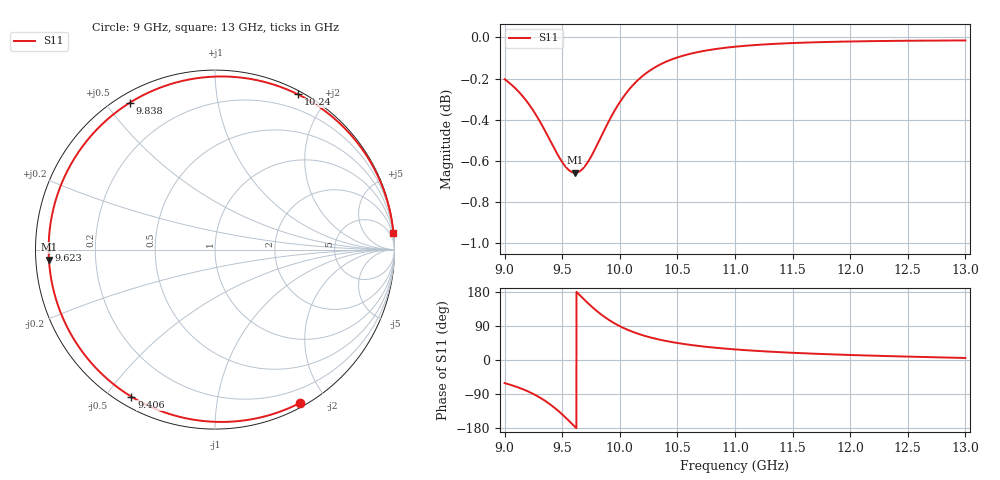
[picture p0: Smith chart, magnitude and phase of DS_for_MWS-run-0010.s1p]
! TOUCHSTONE file generated by CST DESIGN STUDIO
! Date and time: Tue Feb  4 15:46:16 2025
! Project name: C:\Work\MatlabApps\UnitCellOptimizationMatlab\CST\unitcell.cst
! Tree item: Tasks\Sweep1\SPara1\S-Parameters
! Header version: 2024
! Port assignment regex: !\s*Touchstone port\s*([0-9]+)\s*=\s*(CST MWS port|CST DES external port|CST DES block port)\s*(.+)\s* \(\"(.*)\"\)(\s*mode\s*([0-9]+))?.*
! Touchstone port assignment:
! Touchstone port 1 = CST DES external port 1 ("")
# GHz S MA R 50
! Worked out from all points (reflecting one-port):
!   4001 points, 9 GHz to 13 GHz, reference 50 ohm
!   lowest |S11| = -0.7 dB at 9.612 GHz (marker M1), VSWR 26.42, Z = 1.89 - j1.5 ohm
!   phase of S11 starts at -61 deg and turns -294 deg over the sweep
!   S11 on the Smith chart (normalised r, x): 9 GHz: 0.05, -1.70; 9.406 GHz: 0.04, -0.58; 9.623 GHz: 0.04, -0.00; 9.838 GHz: 0.04, +0.57; 10.24 GHz: 0.04, +1.67; 13 GHz: 0, +21
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9  0.9769 -61.0
9.055  0.9741 -65.9
9.127  0.9697 -73.4
9.19  0.9651 -81.1
9.251  0.9597 -89.9
9.334  0.951 -104.3
9.406  0.9427 -119.6
9.453  0.9373 -131.0
9.5  0.9326 -143.5
9.559  0.9284 -160.5
9.612  0.9271 -176.6
9.623  0.9271 -179.9
9.668  0.9286 166.3
9.715  0.9319 152.4
9.777  0.9385 135.3
9.838  0.946 120.2
9.913  0.9552 104.3
10  0.9644 89.3
10.113  0.9736 74.2
10.237  0.9806 61.9
10.359  0.9852 52.8
10.5  0.9889 44.8
10.72  0.9924 35.8
11  0.9948 28.0
11.5  0.9969 19.0
12  0.9977 13.2
12.5  0.9981 8.9
13  0.9983 5.4
